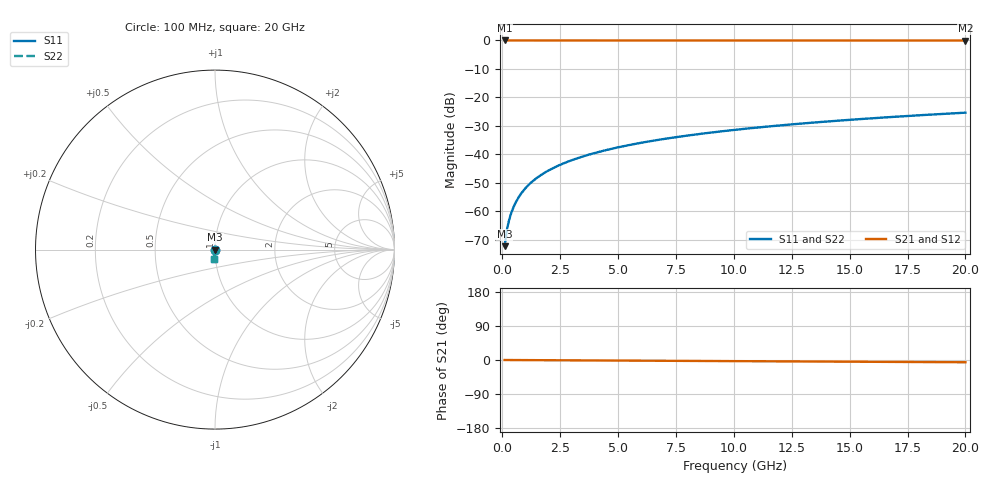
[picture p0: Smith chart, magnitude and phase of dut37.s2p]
! Touchstone file exported from HFSS 2026.1.0
!  File:  C:/ffzhzh/LocalFiles/Ansys_Project_Files/temp_train_TSV_37_1782958511_45748.aedt
!  Generated:  10:16:28 AM Jul  2, 2026
!  Design:  TSV
!  Project:  temp_train_TSV_37_1782958511_45748
! Variables:
!  h_bsmrdl = 2um
!  h_ox = 20um
!  h_rdl = 5um
!  h_sub = 51.61um
!  h_tmrdl = 5um
!  h_tsv = 51.61um
!  h_via = 3um
!  l_bsmrdl = 300um
!  l_sub = 425.64um
!  l_tmrdl = 200um
!  m_sub = 200um
!  pitch = 33.23um
!  r_tsv = 12.82um
!  s_tmrdl = 10um
!  w_bsmrdl = 18um
!  w_sub = 500um
!  w_tmrdl = 12um
!  x_tsv_center1 = 206um
!  x_tsv_center2 = 524um
!  x_tsv_center3 = 736um
!  x_tsv_center4 = 1054um
!  x_tsv_center5 = 1266um
!  x_tsv_center6 = 1584um
# GHz S MA R 50.000000
! Terminal data exported
! Port[1] = TSV1_1_T1
! Port[2] = TSV1_1_T2
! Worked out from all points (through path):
!   200 points, 100 MHz to 20 GHz, reference 50 ohm
!   highest |S21| = 0.00 dB at 100 MHz (marker M1); lowest = 0.0 dB at 20 GHz (marker M2)
!   lowest |S11| = -72.2 dB at 100 MHz (marker M3), VSWR 1.00, Z = 50 - j0.0235 ohm
!   |S11| at or under -10 dB: start of sweep to end of sweep
!   |S22| runs from -72.2 to -25.3 dB; largest |S21 - S12| = 1e-15
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0.1  0.0002465 -72.7  0.9999 -0.0  0.9999 -0.0  0.0002465 -72.7
! Gamma 0 0 0 0
! Port Impedance 50 0 50 0
0.2  0.0004816 -79.8  0.9999 -0.1  0.9999 -0.1  0.0004816 -79.8
0.3  0.0007255 -81.9  0.9999 -0.1  0.9999 -0.1  0.0007255 -81.9
0.4  0.0009763 -82.9  0.9999 -0.1  0.9999 -0.1  0.0009763 -82.9
0.5  0.001233 -83.5  0.9999 -0.2  0.9999 -0.2  0.001233 -83.5
0.7  0.001758 -84.3  0.9998 -0.2  0.9998 -0.2  0.001758 -84.3
0.8  0.002024 -84.7  0.9998 -0.2  0.9998 -0.2  0.002024 -84.7
1  0.00256 -85.3  0.9998 -0.3  0.9998 -0.3  0.00256 -85.3
1.2  0.003098 -85.9  0.9998 -0.4  0.9998 -0.4  0.003098 -85.9
1.4  0.003636 -86.4  0.9997 -0.4  0.9997 -0.4  0.003636 -86.4
1.7  0.004443 -86.9  0.9997 -0.5  0.9997 -0.5  0.004443 -86.9
2  0.005249 -87.4  0.9997 -0.6  0.9997 -0.6  0.005249 -87.4
2.7  0.007131 -88.1  0.9996 -0.8  0.9996 -0.8  0.007131 -88.1
3.5  0.009285 -88.7  0.9996 -1.1  0.9996 -1.1  0.009285 -88.7
4.2  0.01117 -89.1  0.9995 -1.3  0.9995 -1.3  0.01117 -89.1
5  0.01334 -89.5  0.9995 -1.5  0.9995 -1.5  0.01334 -89.5
6.8  0.01822 -90.3  0.9993 -2.0  0.9993 -2.0  0.01822 -90.3
8.3  0.0223 -91.0  0.9992 -2.5  0.9992 -2.5  0.0223 -91.0
10.1  0.0272 -91.6  0.999 -3.0  0.999 -3.0  0.0272 -91.6
13.4  0.03618 -92.8  0.9986 -4.0  0.9986 -4.0  0.03618 -92.8
16.7  0.04516 -93.9  0.9981 -5.0  0.9981 -5.0  0.04516 -93.9
20  0.05414 -95.0  0.9976 -5.9  0.9976 -5.9  0.05414 -95.0
